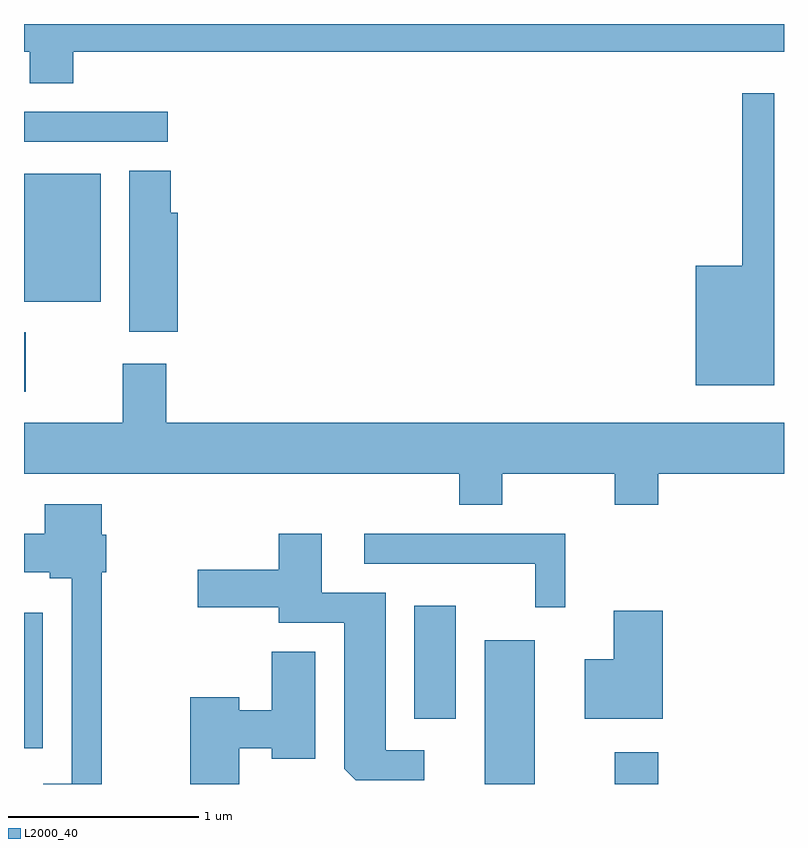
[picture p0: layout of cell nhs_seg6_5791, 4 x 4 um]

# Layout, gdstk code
import gdstk
lib = gdstk.Library(unit=1e-6, precision=1e-09)
def R(c, l, rs):  # rectangles x0, y0, x1, y1
    for r in rs: c.add(gdstk.rectangle(r[:2], r[2:], *l))
def P(c, l, *ps):  # polygons
    for p in ps: c.add(gdstk.Polygon(p, *l))
L2000_40 = (2000, 40)

nhs_seg6_5791 = lib.new_cell('nhs_seg6_5791')
R(nhs_seg6_5791, L2000_40, [(364.036,1566.162,364.299,1566.919), (364.721,1566.162,364.949,1566.329), (361.611,1566.351,361.709,1567.064), (363.666,1566.506,363.884,1567.099), (361.611,1568.226,361.619,1568.539), (361.611,1568.701,362.014,1569.374), (361.611,1569.541,362.368,1569.699)])
P(nhs_seg6_5791, L2000_40, [(361.869,1570.016),(365.611,1570.016),(365.611,1570.162),(361.611,1570.162),(361.611,1570.016),(361.641,1570.016),(361.641,1569.851),(361.869,1569.851)],
  [(365.559,1569.798),(365.391,1569.798),(365.391,1568.889),(365.146,1568.889),(365.146,1568.261),(365.559,1568.261)],
  [(362.419,1569.169),(362.384,1569.169),(362.384,1569.389),(362.166,1569.389),(362.166,1568.541),(362.419,1568.541)],
  [(364.129,1567.796),(364.721,1567.796),(364.721,1567.631),(364.949,1567.631),(364.949,1567.796),(365.611,1567.796),(365.611,1568.064),(362.359,1568.064),(362.359,1568.374),(362.131,1568.374),(362.131,1568.064),(361.611,1568.064),(361.611,1567.796),(363.901,1567.796),(363.901,1567.631),(364.129,1567.631)],
  [(362.019,1567.276),(362.044,1567.276),(362.044,1567.474),(362.019,1567.474),(362.019,1567.634),(361.721,1567.634),(361.721,1567.479),(361.611,1567.479),(361.611,1567.276),(361.746,1567.276),(361.746,1567.246),(361.861,1567.246),(361.861,1566.164),(361.713,1566.164),(361.713,1566.162),(362.019,1566.162)],
  [(363.718,1566.339),(363.514,1566.339),(363.514,1567.169),(363.179,1567.169),(363.179,1567.479),(362.951,1567.479),(362.951,1567.289),(362.526,1567.289),(362.526,1567.091),(362.951,1567.091),(362.951,1567.011),(363.296,1567.011),(363.296,1566.242),(363.357,1566.181),(363.718,1566.181)],
  [(364.459,1567.479),(363.403,1567.479),(363.403,1567.321),(364.301,1567.321),(364.301,1567.093),(364.459,1567.093)],
  [(364.974,1567.074),(364.716,1567.074),(364.716,1566.819),(364.561,1566.819),(364.561,1566.506),(364.974,1566.506)],
  [(362.744,1566.351),(362.916,1566.351),(362.916,1566.296),(363.144,1566.296),(363.144,1566.859),(362.916,1566.859),(362.916,1566.549),(362.744,1566.549),(362.744,1566.619),(362.486,1566.619),(362.486,1566.162),(362.744,1566.162)])

lib.write_gds('nhs_seg6_5791.gds')
